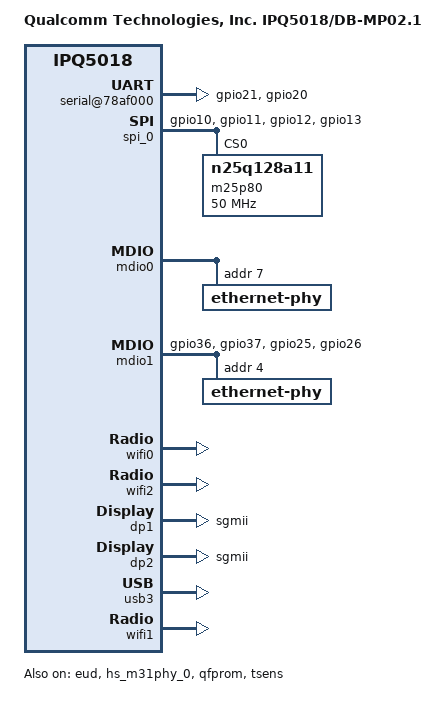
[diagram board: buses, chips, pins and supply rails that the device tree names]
/dts-v1/;
/* Copyright (c) 2018-2020, The Linux Foundation. All rights reserved.
 *
 * Permission to use, copy, modify, and/or distribute this software for any
 * purpose with or without fee is hereby granted, provided that the above
 * copyright notice and this permission notice appear in all copies.
 *
 * THE SOFTWARE IS PROVIDED "AS IS" AND THE AUTHOR DISCLAIMS ALL WARRANTIES
 * WITH REGARD TO THIS SOFTWARE INCLUDING ALL IMPLIED WARRANTIES OF
 * MERCHANTABILITY AND FITNESS. IN NO EVENT SHALL THE AUTHOR BE LIABLE FOR
 * ANY SPECIAL, DIRECT, INDIRECT, OR CONSEQUENTIAL DAMAGES OR ANY DAMAGES
 * WHATSOEVER RESULTING FROM LOSS OF USE, DATA OR PROFITS, WHETHER IN AN
 * ACTION OF CONTRACT, NEGLIGENCE OR OTHER TORTIOUS ACTION, ARISING OUT OF
 * OR IN CONNECTION WITH THE USE OR PERFORMANCE OF THIS SOFTWARE.
 */

#include "qcom-ipq5018.dtsi"

/ {
	#address-cells = <0x2>;
	#size-cells = <0x2>;
	model = "Qualcomm Technologies, Inc. IPQ5018/DB-MP02.1";
	compatible = "qcom,ipq5018-db-mp02.1", "qcom,ipq5018";
	interrupt-parent = <&intc>;

	MP_256;
	/delete-property/ MP_512;

	aliases {
		sdhc1 = &sdhc_1; /* SDC1 eMMC slot */
		serial0 = &blsp1_uart1;
		serial1 = &blsp1_uart2;
		ethernet0 = "/soc/dp1";
		ethernet1 = "/soc/dp2";
	};

	chosen {
		bootargs = "console=ttyMSM0,115200,n8 rw init=/init";
	#ifdef __IPQ_MEM_PROFILE_256_MB__
		bootargs-append = " swiotlb=1";
	#else
		bootargs-append = " swiotlb=1 coherent_pool=2M";
	#endif
		stdout-path = "serial0";
	};

	/*            256 MB Profile
	 * +=========+==============+========================+
	 * |        |              |                         |
	 * | Region | Start Offset |          Size           |
	 * |        |              |                         |
	 * +--------+--------------+-------------------------+
	 * |        |              |                         |
	 * |        |              |                         |
	 * |  NSS   |  0x40000000  |          8MB           |
	 * |        |              |                         |
	 * |        |              |                         |
	 * +--------+--------------+-------------------------+
	 * |        |              |                         |
	 * |        |              |                         |
	 * |        |              |                         |
	 * |        |              |                         |
	 * | Linux  |  0x40800000  | Depends on total memory |
	 * |        |              |                         |
	 * |        |              |                         |
	 * |        |              |                         |
	 * +        |              |                         |
	 * +--------+--------------+-------------------------+
	 * |        |              |                         |
	 * | uboot  |  0x4A600000  |           4MB           |
	 * |        |              |                         |
	 * +--------+--------------+-------------------------+
	 * |  SBL   |  0x4AA00000  |           1MB           |
	 * +--------+--------------+-------------------------+
	 * |  smem  |  0x4AB00000  |           1MB           |
	 * +--------+--------------+-------------------------+
	 * |        |              |                         |
	 * |   TZ   |  0x4AC00000  |           4MB           |
	 * |        |              |                         |
	 * +--------+--------------+-------------------------+
	 * |        |              |                         |
	 * |        |              |                         |
	 * |   Q6   |  0x4B000000  |          20MB           |
	 * |  code/ |              |                         |
	 * |  data  |              |                         |
	 * +--------+--------------+-------------------------+
	 * |        |              |                         |
	 * |IPQ5018 |  0x4C400000  |          13MB           |
	 * |  data  |              |                         |
	 * +--------+--------------+-------------------------+
	 * | M3 Dump|  0x4D100000  |           1MB           |
	 * +--------+--------------+-------------------------+
	 * |  QDSS  |  0x4D200000  |           1MB           |
	 * +--------+--------------+-------------------------+
	 * |QCN6122 |  0x4D300000  |          15MB           |
	 * |  data  |              |                         |
	 * +--------+--------------+-------------------------+
	 * | M3 Dump|  0x4E200000  |           1MB           |
	 * +--------+--------------+-------------------------+
	 * |  QDSS  |  0x4E300000  |           1MB           |
	 * +--------+--------------+-------------------------+
	 * |QCN6122 |  0x4E400000  |          15MB           |
	 * |  data  |              |                         |
	 * +--------+--------------+-------------------------+
	 * | M3 Dump|  0x4F300000  |           1MB           |
	 * +--------+--------------+-------------------------+
	 * |  QDSS  |  0x4F400000  |           1MB           |
	 * +--------+--------------+-------------------------+
	 * |                                                 |
	 * |      Rest of the memory for Linux               |
	 * |                                                 |
	 * +=================================================+
	 */
	reserved-memory {
		/delete-node/ nss@40000000;

		nss@40000000 {
			no-map;
			reg = <0x0 0x40000000 0x0 0x0800000>;
		};

		q6_mem_regions: q6_mem_regions@4B000000 {
			no-map;
			reg = <0x0 0x4B000000 0x0 0x4500000>;
		};

		q6_code_data: q6_code_data@4B000000 {
			no-map;
			reg = <0x0 0x4B000000 0x0 01400000>;
		};

		q6_ipq5018_data: q6_ipq5018_data@4C400000 {
			no-map;
			reg = <0x0 0x4C400000 0x0 0xD00000>;
		};

		m3_dump: m3_dump@4D100000 {
			no-map;
			reg = <0x0 0x4D100000 0x0 0x100000>;
		};

		q6_etr_region: q6_etr_dump@4D200000 {
			no-map;
			reg = <0x0 0x4D200000 0x0 0x100000>;
		};

		q6_qcn6122_data1: q6_qcn6122_data1@4D300000 {
			no-map;
			reg = <0x0 0x4D300000 0x0 0xF00000>;
		};

		m3_dump_qcn6122_1: m3_dump_qcn6122_1@4E200000 {
			no-map;
			reg = <0x0 0x4E200000 0x0 0x100000>;
		};

		q6_qcn6122_etr_1: q6_qcn6122_etr_1@4E300000 {
			no-map;
			reg = <0x0 0x4E300000 0x0 0x100000>;
		};

		q6_qcn6122_data2: q6_qcn6122_data2@4E400000 {
			no-map;
			reg = <0x0 0x4E400000 0x0 0xF00000>;
		};

		m3_dump_qcn6122_2: m3_dump_qcn6122_2@4F300000 {
			no-map;
			reg = <0x0 0x4F300000 0x0 0x100000>;
		};

		q6_qcn6122_etr_2: q6_qcn6122_etr_2@4F400000 {
			no-map;
			reg = <0x0 0x4F400000 0x0 0x100000>;
		};
	};

	soc {
		serial@78af000 {
			status = "ok";
			pinctrl-0 = <&blsp0_uart0_pins>;
			pinctrl-names = "default";
		};

	spi_0: spi@78b5000 { /* BLSP1 QUP0 */
			pinctrl-0 = <&blsp0_spi_pins>;
			pinctrl-names = "default";
			cs-select = <0>;
			status = "ok";

			m25p80@0 {
				#address-cells = <1>;
				#size-cells = <1>;
				reg = <0>;
				compatible = "n25q128a11";
				linux,modalias = "m25p80", "n25q128a11";
				spi-max-frequency = <50000000>;
				use-default-sizes;
			};
		};

		mdio0: mdio@88000 {
			status = "ok";

			ethernet-phy@0 {
				reg = <7>;
			};
		};

		mdio1: mdio@90000 {
			status = "ok";
			pinctrl-0 = <&mdio1_pins &phy_pins>;
			pinctrl-names = "default";
			phy-reset-gpio = <&tlmm 26 0>;

			ethernet-phy@0 {
				reg = <4>;
			};
		};

		ess-instance {
			num_devices = <0x1>;
			ess-switch@0x39c00000 {
				switch_mac_mode = <0xf>; /* mac mode for uniphy instance*/
				cmnblk_clk = "internal_96MHz"; /* cmnblk clk*/
				qcom,port_phyinfo {
					port@0 {
						port_id = <1>;
						phy_address = <7>;
						mdiobus = <&mdio0>;
					};
					port@1 {
						port_id = <2>;
						phy_address = <0x4>;
						mdiobus = <&mdio1>;
					};
				};
				led_source@0 {
					source = <0>;
					mode = "normal";
					speed = "all";
					blink_en = "enable";
					active = "low";
				};
			};
		};

		qcom_q6v5_wcss@CD00000 {
			memory-region = <&q6_mem_regions>;
		};


		wifi0: wifi@c000000 {
			qcom,tgt-mem-mode = <2>;
			status = "ok";
		};

		wifi2: wifi2@c000000 {
			compatible = "qcom,cnss-qcn6122", "qcom,cnss-qcn9100";
			qcom,rproc = <&qcom_q6v5_wcss>;
			status = "disabled";
		};

                dp1 {
			device_type = "network";
			compatible = "qcom,nss-dp";
			clocks = <&gcc GCC_SNOC_GMAC0_AXI_CLK>;
			clock-names = "nss-snoc-gmac-axi-clk";
			qcom,id = <1>;
			reg = <0x39C00000 0x10000>;
			interrupts = <GIC_SPI 101 IRQ_TYPE_LEVEL_HIGH>;
			qcom,mactype = <2>;
			qcom,link-poll = <1>;
			qcom,phy-mdio-addr = <7>;
			mdio-bus = <&mdio0>;
			local-mac-address = [000000000000];
			phy-mode = "sgmii";
		};

		dp2 {
			device_type = "network";
			compatible = "qcom,nss-dp";
			clocks = <&gcc GCC_SNOC_GMAC1_AXI_CLK>;
			clock-names = "nss-snoc-gmac-axi-clk";
			qcom,id = <2>;
			reg = <0x39D00000 0x10000>;
			interrupts = <GIC_SPI 109 IRQ_TYPE_LEVEL_HIGH>;
			qcom,mactype = <2>;
			qcom,link-poll = <1>;
			qcom,phy-mdio-addr = <4>;
			mdio-bus = <&mdio1>;
			local-mac-address = [000000000000];
			phy-mode = "sgmii";
                };

		qcom,test@0 {
			status = "ok";
		};
	};

	thermal-zones {
		status = "ok";
	};
};

&sdhc_1 {
	status = "disabled";
};

&tlmm {
	pinctrl-0 = <&blsp0_uart_pins &blsp1_uart_pins &phy_led_pins>;
	pinctrl-names = "default";

	blsp0_uart_pins: blsp0_uart_pins {
		blsp0_uart_rx {
			pins = "gpio28";
			function = "blsp0_uart1";
			drive-strength = <8>;
		};
		blsp0_uart_tx {
			pins = "gpio29";
			function = "blsp0_uart1";
			drive-strength = <8>;
		};
	};

	blsp1_uart_pins: blsp1_uart_pins {
		blsp1_uart_rx {
			pins = "gpio23";
			function = "blsp1_uart2";
			drive-strength = <8>;
			input-enable;
			bias-disable;
			bias-pull-up;
		};
		blsp1_uart_tx {
			pins = "gpio25";
			function = "blsp1_uart2";
			drive-strength = <8>;
			bias-disable;
			output-high;
			bias-pull-up;
		};
		blsp1_uart_rfr {
			pins = "gpio24";
			function = "blsp1_uart2";
			drive-strength = <8>;
			bias-disable;
			output-high;
			bias-pull-up;
		};
		blsp1_uart_cts {
			pins = "gpio26";
			function = "blsp1_uart2";
			drive-strength = <8>;
			bias-disable;
			input-enable;
			bias-pull-up;
		};
	};

	blsp0_spi_pins: blsp0_spi_pins {
		mux {
			pins = "gpio10", "gpio11", "gpio12", "gpio13";
			function = "blsp0_spi";
			drive-strength = <2>;
			bias-disable;
		};
	};

	phy_pins: phy_pins {
		phy_intr {
			pins = "gpio25";
			function = "gpio";
			drive-strength = <8>;
			bias-disable;
		};
		phy_reset {
			pins = "gpio26";
			function = "gpio";
			drive-strength = <8>;
			bias-pull-down;
			output-low;
		};
	};

	mdio1_pins: mdio_pinmux {
		mux_0 {
			pins = "gpio36";
			function = "mdc";
			drive-strength = <8>;
			bias-pull-up;
		};

		mux_1 {
			pins = "gpio37";
			function = "mdio";
			drive-strength = <8>;
			bias-pull-up;
		};
	};

	phy_led_pins: phy_led_pins {
		gephy_led_pin {
			pins = "gpio30";
			function = "led0";
			drive-strength = <8>;
			bias-pull-down;
		};
	};

	blsp0_uart0_pins: blsp0_uart0_pins {
		gpio_21 {
			pins = "gpio21";
			drive-strength = <8>;
			bias-pull-down;
		};
		gpio_20 {
			pins = "gpio20";
			drive-strength = <8>;
			bias-pull-down;
		};
	};
};

&usb3 {
	status = "ok";
};

&pcie_x1 {
	status = "disabled";
	perst-gpio = <&tlmm 18 1>;
};

&pcie_x2 {
	status = "disabled";
	perst-gpio = <&tlmm 15 1>;
};

&eud {
	status = "ok";
};

&dwc_0 {
	/delete-property/ #phy-cells;
	/delete-property/ phys;
	/delete-property/ phy-names;
};

&hs_m31phy_0 {
	status = "ok";
};

&pcie_x1phy {
	status = "disabled";
};

&pcie_x2phy {
	status = "disabled";
};

&qfprom {
	status = "ok";
};

&tsens {
	status = "ok";
};

&qgic_msi_0 {
	status = "ok";
};

&qgic_msi_1 {
	status = "ok";
};

&qcom_q6v5_wcss {
	qcom,multipd_arch;
	qcom,share_bootargs;
	qcom,bootargs_smem = <507>;
	boot-args = <0x1 0x4 0x3 0x0F 0x0 0x0>,
			<0x2 0x4 0x2 0x12 0x0 0x0>;

	/* IPQ5018 */
	q6v5_wcss_userpd1 {
		m3_firmware = "IPQ5018/m3_fw.mdt";
		interrupts-extended = <&wcss_smp2p_in 8 0>,
			<&wcss_smp2p_in 9 0>,
			<&wcss_smp2p_in 12 0>,
			<&wcss_smp2p_in 11 0>;
		interrupt-names ="fatal",
			"ready",
			"spawn_ack",
			"stop-ack";
		qcom,smem-states = <&wcss_smp2p_out 8>,
			<&wcss_smp2p_out 9>,
			<&wcss_smp2p_out 10>;
		qcom,smem-state-names = "shutdown",
			"stop",
			"spawn";
		qca,asid = <1>;
		qca,auto-restart;
		qca,int_radio;
		memory-region = <&q6_ipq5018_data>, <&m3_dump>,
				<&q6_etr_region>;
	};

	/* QCN6122 6G */
	q6v5_wcss_userpd2 {
		m3_firmware = "qcn6122/m3_fw.mdt";
		interrupts-extended = <&wcss_smp2p_in 16 0>,
			<&wcss_smp2p_in 17 0>,
			<&wcss_smp2p_in 20 0>,
			<&wcss_smp2p_in 19 0>;
		interrupt-names ="fatal",
			"ready",
			"spawn_ack",
			"stop-ack";
		qcom,smem-states = <&wcss_smp2p_out 16>,
			<&wcss_smp2p_out 17>,
			<&wcss_smp2p_out 18>;
		qcom,smem-state-names = "shutdown",
			"stop",
			"spawn";
		qca,asid = <2>;
		qca,auto-restart;
		memory-region = <&q6_qcn6122_data1>, <&m3_dump_qcn6122_1>,
				<&q6_qcn6122_etr_1>;
	};

	/* QCN6122 5G */
	q6v5_wcss_userpd3 {
		m3_firmware = "qcn6122/m3_fw.mdt";
		interrupts-extended = <&wcss_smp2p_in 24 0>,
			<&wcss_smp2p_in 25 0>,
			<&wcss_smp2p_in 28 0>,
			<&wcss_smp2p_in 27 0>;
		interrupt-names ="fatal",
			"ready",
			"spawn_ack",
			"stop-ack";
		qcom,smem-states = <&wcss_smp2p_out 24>,
			<&wcss_smp2p_out 25>,
			<&wcss_smp2p_out 26>;
		qcom,smem-state-names = "shutdown",
			"stop",
			"spawn";
		qca,asid = <3>;
		qca,auto-restart;
		memory-region = <&q6_qcn6122_data2>, <&m3_dump_qcn6122_2>,
				<&q6_qcn6122_etr_2>;
	};
};

&wifi0 {
	/* IPQ5018 */
	qcom,multipd_arch;
	qcom,board_id = <0x10>;
	qcom,bdf-addr = <0 0 0x4C400000 0 0>;
	qcom,caldb-addr = <0 0 0 0 0>;
	qcom,caldb-size = <0>;
	qcom,userpd-subsys-name = "q6v5_wcss_userpd1";
	status = "ok";
};

&wifi1 {
	/* QCN6122 6G */
	qcom,multipd_arch;
	qcom,board_id = <0x90>;
	qcom,tgt-mem-mode = <2>;
	/*
	 * once wifi driver changes are in place to
	 * qcn6122 compatible string, remove qcn9100 here
	 */
	compatible = "qcom,cnss-qcn6122", "qcom,cnss-qcn9100";
	qcom,bdf-addr = <0 0 0x4D300000 0 0>;
	qcom,caldb-addr = <0 0 0 0 0>;
	qcom,caldb-size = <0>;
	qcom,userpd-subsys-name = "q6v5_wcss_userpd2";
	status = "ok";
};

&wifi2 {
	/* QCN6122 5G */
	qcom,multipd_arch;
	qcom,board_id = <0x50>;
	qcom,tgt-mem-mode = <2>;
	/*
	 * once wifi driver changes are in place to
	 * qcn6122 compatible string, remove qcn9100 here
	 */
	compatible = "qcom,cnss-qcn6122", "qcom,cnss-qcn9100";
	qcom,bdf-addr = <0 0 0x4E400000 0 0>;
	qcom,caldb-addr = <0 0 0 0 0>;
	qcom,caldb-size = <0>;
	qcom,userpd-subsys-name = "q6v5_wcss_userpd3";
	status = "ok";
};
